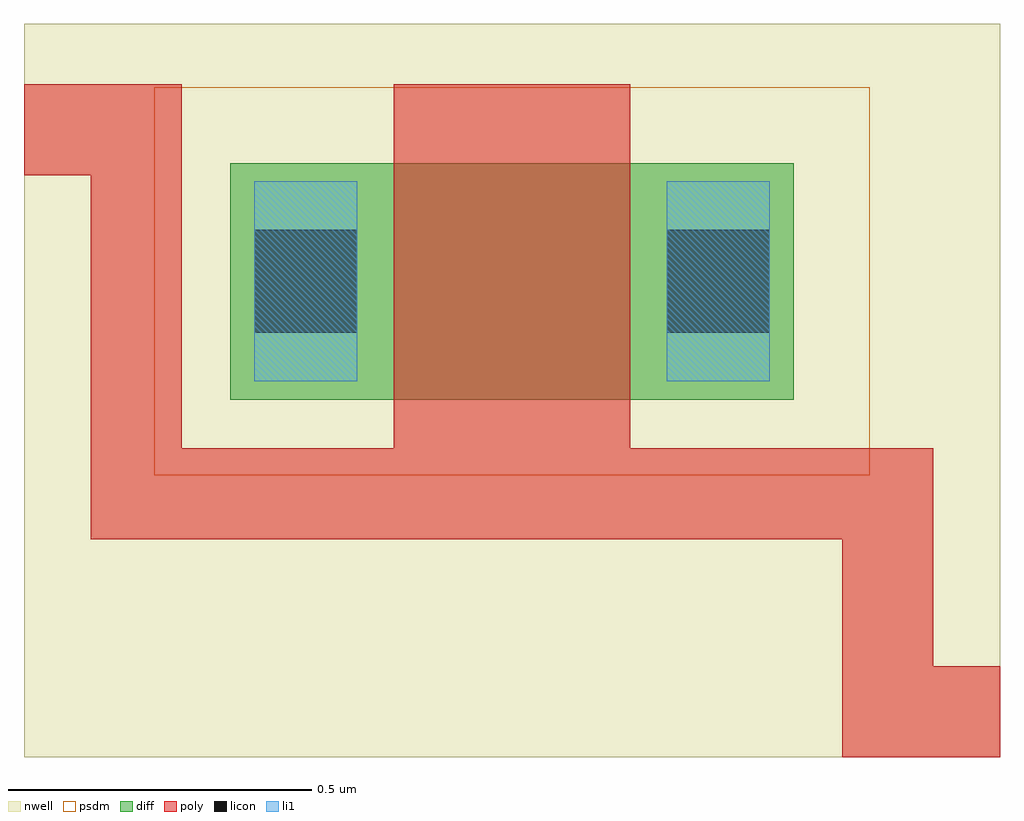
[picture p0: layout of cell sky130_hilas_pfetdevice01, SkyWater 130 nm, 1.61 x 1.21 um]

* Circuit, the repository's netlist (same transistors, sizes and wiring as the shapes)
* Copyright 2020 The Hilas PDK Authors
* 
* This file is part of HILAS.
* 
* HILAS is free software: you can redistribute it and/or modify
* it under the terms of the GNU Lesser General Public License as published by
* the Free Software Foundation, version 3 of the License.
* 
* HILAS is distributed in the hope that it will be useful,
* but WITHOUT ANY WARRANTY; without even the implied warranty of
* MERCHANTABILITY or FITNESS FOR A PARTICULAR PURPOSE.  See the
* GNU Lesser General Public License for more details.
* 
* You should have received a copy of the GNU Lesser General Public License
* along with HILAS.  If not, see <https://www.gnu.org/licenses/>.
* 
* Licensed under the Lesser General Public License, Version 3.0 (the "License");
* you may not use this file except in compliance with the License.
* You may obtain a copy of the License at
* 
* https://www.gnu.org/licenses/lgpl-3.0.en.html
* 
* Unless required by applicable law or agreed to in writing, software
* distributed under the License is distributed on an "AS IS" BASIS,
* WITHOUT WARRANTIES OR CONDITIONS OF ANY KIND, either express or implied.
* See the License for the specific language governing permissions and
* limitations under the License.
* 
* SPDX-License-Identifier: LGPL-3.0
* 
* 

* NGSPICE file created from sky130_hilas_pFETdevice01.ext - technology: sky130A


* Top level circuit sky130_hilas_pFETdevice01

X0 a_42_n38# a_n158_36# a_n90_n38# w_n158_n156# sky130_fd_pr__pfet_01v8 w=390000u l=390000u
.end

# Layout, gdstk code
import gdstk
lib = gdstk.Library(unit=1e-6, precision=1e-09)
def R(c, l, rs):  # rectangles x0, y0, x1, y1
    for r in rs: c.add(gdstk.rectangle(r[:2], r[2:], *l))
nwell = (64, 20)
diff = (65, 20)
poly = (66, 20)
licon = (66, 44)
li1 = (67, 20)
psdm = (94, 20)

sky130_hilas_pfetdevice0 = lib.new_cell('sky130_hilas_pfetdevice01')
R(sky130_hilas_pfetdevice0, nwell, [(-0.79,-0.78,0.82,0.43)])
R(sky130_hilas_pfetdevice0, diff, [(-0.45,-0.19,0.48,0.2)])
R(sky130_hilas_pfetdevice0, poly, [(0.56,-0.78,0.82,-0.63), (0.56,-0.63,0.71,-0.42), (-0.68,-0.42,0.71,-0.27), (-0.68,-0.27,-0.53,0.18), (-0.18,-0.27,0.21,0.33), (-0.79,0.18,-0.53,0.33)])
R(sky130_hilas_pfetdevice0, licon, [(-0.41,-0.08,-0.24,0.09), (0.27,-0.08,0.44,0.09)])
R(sky130_hilas_pfetdevice0, li1, [(-0.41,-0.16,-0.24,0.17), (0.27,-0.16,0.44,0.17)])
R(sky130_hilas_pfetdevice0, psdm, [(-0.575,-0.315,0.605,0.325)])

lib.write_gds('sky130_hilas_pfetdevice01.gds')
